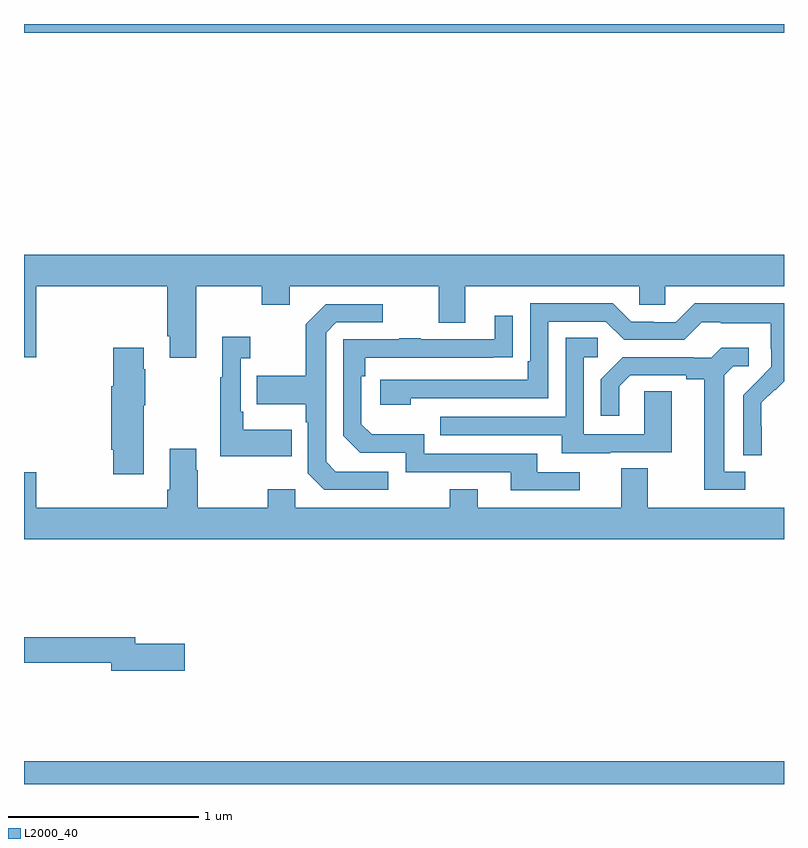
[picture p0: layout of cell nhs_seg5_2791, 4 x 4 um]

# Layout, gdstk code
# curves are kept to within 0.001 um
import gdstk
lib = gdstk.Library(unit=1e-6, precision=1e-09)
def R(c, l, rs):  # rectangles x0, y0, x1, y1
    for r in rs: c.add(gdstk.rectangle(r[:2], r[2:], *l))
def P(c, l, *ps):  # polygons
    for p in ps: c.add(gdstk.Polygon(p, *l))
L2000_40 = (2000, 40)

nhs_seg5_2791 = lib.new_cell('nhs_seg5_2791')
R(nhs_seg5_2791, L2000_40, [(273,860.799,277,860.92), (273,864.752,277,864.799)])
P(nhs_seg5_2791, L2000_40, [(273.907,863.42),(274.252,863.42),(274.252,863.321),(274.399,863.321),(274.399,863.42),(275.183,863.42),(275.183,863.226),(275.323,863.226),(275.323,863.42),(276.237,863.42),(276.237,863.322),(276.375,863.322),(276.375,863.42),(277,863.42),(277,863.584),(273,863.584),(273,863.046),(273.064,863.046),(273.064,863.42),(273.755,863.42),(273.755,863.155),(273.767,863.155),(273.767,863.043),(273.907,863.043)],
  [(276.882,862.682),(276.881,862.805),(276.951,862.875),(276.954,862.872),(277,862.918),(277,863.329),(276.529,863.329),(276.429,863.229),(276.314,863.229),(276.314,863.232),(276.195,863.232),(276.099,863.328),(275.664,863.328),(275.664,863.023),(275.651,863.023),(275.651,862.926),(274.875,862.926),(274.875,862.796),(275.036,862.796),(275.036,862.83),(275.76,862.83),(275.76,863.232),(276.063,863.232),(276.159,863.136),(276.474,863.136),(276.567,863.229),(276.667,863.229),(276.667,863.225),(276.93,863.225),(276.93,863.091),(276.932,863.091),(276.932,862.994),(276.786,862.846),(276.786,862.528),(276.882,862.528)],
  [(274.918,862.443),(274.641,862.443),(274.59,862.494),(274.59,863.175),(274.644,863.229),(274.888,863.229),(274.888,863.325),(274.587,863.325),(274.482,863.219),(274.482,862.947),(274.225,862.947),(274.225,862.799),(274.482,862.799),(274.482,862.703),(274.494,862.703),(274.494,862.434),(274.581,862.347),(274.918,862.347)],
  [(275.926,862.44),(275.701,862.44),(275.701,862.536),(275.106,862.536),(275.106,862.639),(274.829,862.639),(274.776,862.692),(274.776,862.946),(274.796,862.946),(274.796,863.043),(275.573,863.044),(275.573,863.263),(275.477,863.263),(275.477,863.139),(275.087,863.139),(275.087,863.144),(274.975,863.144),(274.975,863.139),(274.68,863.139),(274.68,862.632),(274.77,862.542),(275.01,862.542),(275.01,862.44),(275.561,862.44),(275.561,862.344),(275.926,862.344)],
  [(274.409,862.663),(274.153,862.663),(274.153,862.759),(274.14,862.759),(274.14,863.039),(274.192,863.039),(274.192,863.152),(274.043,863.152),(274.043,862.939),(274.032,862.939),(274.032,862.523),(274.409,862.523)],
  [(276.085,862.545),(276.409,862.545),(276.409,862.865),(276.264,862.865),(276.264,862.641),(275.946,862.641),(275.946,863.046),(276.019,863.046),(276.019,863.147),(275.85,863.147),(275.85,862.731),(275.191,862.731),(275.191,862.635),(275.831,862.635),(275.831,862.541),(276.085,862.541)],
  [(273.631,862.793),(273.639,862.793),(273.639,862.982),(273.631,862.982),(273.631,863.095),(273.469,863.095),(273.469,862.893),(273.458,862.893),(273.458,862.557),(273.469,862.557),(273.469,862.428),(273.631,862.428)],
  [(276.796,862.443),(276.685,862.443),(276.685,862.951),(276.732,862.998),(276.814,862.998),(276.814,863.095),(276.67,863.095),(276.618,863.043),(276.524,863.043),(276.524,863.046),(276.152,863.046),(276.036,862.93),(276.036,862.737),(276.133,862.737),(276.133,862.893),(276.19,862.95),(276.485,862.95),(276.485,862.928),(276.581,862.928),(276.581,862.347),(276.796,862.347)],
  [(277,862.252),(276.283,862.252),(276.283,862.46),(276.143,862.46),(276.143,862.252),(275.389,862.252),(275.389,862.351),(275.242,862.351),(275.242,862.252),(274.428,862.252),(274.428,862.351),(274.282,862.351),(274.282,862.252),(273.915,862.252),(273.915,862.451),(273.907,862.451),(273.907,862.564),(273.767,862.564),(273.767,862.348),(273.755,862.348),(273.755,862.252),(273.064,862.252),(273.064,862.441),(273,862.441),(273,862.088),(277,862.088)],
  [(273.847,861.536),(273.586,861.536),(273.586,861.572),(273,861.572),(273,861.436),(273.458,861.436),(273.458,861.394),(273.847,861.394)])

lib.write_gds('nhs_seg5_2791.gds')
